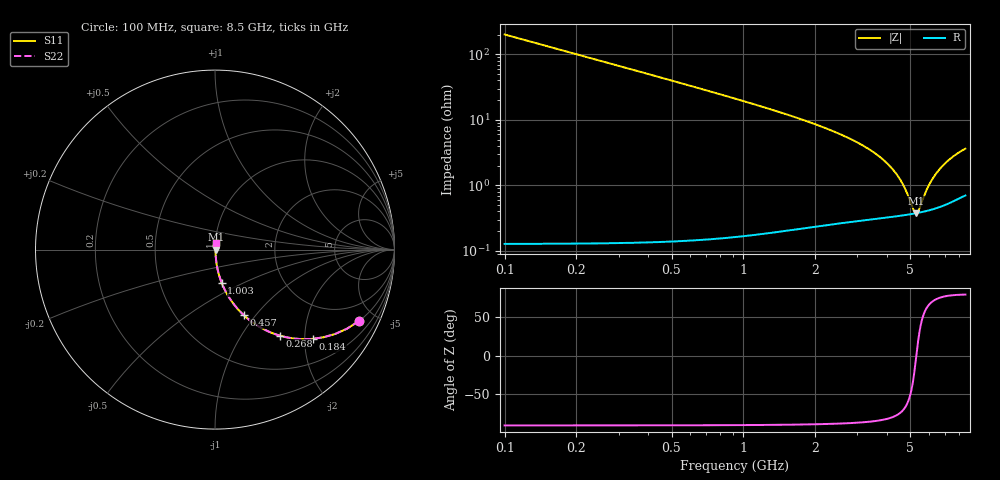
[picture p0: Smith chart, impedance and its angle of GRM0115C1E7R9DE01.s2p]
!Murata Part Number: GRM0115C1E7R9DE01
!These Parameters are Measured in Series Mode Connection
!Data Generated on Mar 30, 2021
!  o--ll--o
!Port1  Port2
!  o------o
!Operation Temp=25[degC], DC Bias Voltage=0[V]
!Freq. Start=100[MHz] Stop=9[GHz] 401[Steps]
# Hz S RI R 50
!Freq.(Hz) S11(Real) S11(Imag) S21(Real) S21(Imag) S12(Real) S12(Imag) S22(Real) S22(Imag)
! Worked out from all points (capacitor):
!   401 points, 100 MHz to 8.5 GHz, reference 50 ohm
!   read as one part in series: C = 7.9 pF near 142 MHz
!   lowest |Z| = 376 mohm at 5.287 GHz (marker M1)
!   series resonance near 5.296 GHz, so ESL is about 110 pH
!   S11 on the Smith chart (normalised r, x): 100 MHz: 1.00, -4.03; 184 MHz: 1.00, -2.19; 268 MHz: 1.00, -1.50; 457 MHz: 1.00, -0.87; 1.003 GHz: 1.00, -0.39; 8.5 GHz: 1.01, +0.07
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1e8  0.802 -0.3981  0.198 0.3981  0.198 0.3981  0.802 -0.3981
1.84e8  0.5445 -0.4974  0.4555 0.4974  0.4555 0.4974  0.5445 -0.4974
2.68e8  0.36 -0.4791  0.64 0.4791  0.64 0.4791  0.36 -0.4791
3.52e8  0.2454 -0.4292  0.7546 0.4292  0.7546 0.4292  0.2454 -0.4292
4.57e8  0.1613 -0.3662  0.8387 0.3662  0.8387 0.3662  0.1613 -0.3662
6.67e8  0.0821 -0.272  0.9179 0.272  0.9179 0.272  0.0821 -0.272
1.003e9  0.0374 -0.1855  0.9626 0.1855  0.9626 0.1855  0.0374 -0.1855
1.507e9  0.0166 -0.1199  0.9834 0.1199  0.9834 0.1199  0.0166 -0.1199
2.914e9  0.00505 -0.0473  0.995 0.0473  0.995 0.0473  0.00505 -0.0473
3.733e9  0.00383 -0.0267  0.9962 0.0267  0.9962 0.0267  0.00383 -0.0267
4.3e9  0.00358 -0.0157  0.9964 0.0157  0.9964 0.0157  0.00358 -0.0157
4.72e9  0.00357 -0.00863  0.9964 0.00863  0.9964 0.00863  0.00357 -0.00863
5.161e9  0.00369 -0.00193  0.9963 0.00193  0.9963 0.00193  0.00369 -0.00193
5.287e9  0.00374 -0.00013  0.9963 0.00013  0.9963 0.00013  0.00374 -0.00013
5.413e9  0.00381 0.00163  0.9962 -0.00163  0.9962 -0.00163  0.00381 0.00163
5.707e9  0.00399 0.00559  0.996 -0.00559  0.996 -0.00559  0.00399 0.00559
5.98e9  0.00421 0.0091  0.9958 -0.0091  0.9958 -0.0091  0.00421 0.0091
6.295e9  0.00452 0.013  0.9955 -0.013  0.9955 -0.013  0.00452 0.013
6.673e9  0.00498 0.0174  0.995 -0.0174  0.995 -0.0174  0.00498 0.0174
7.114e9  0.00562 0.0222  0.9944 -0.0222  0.9944 -0.0222  0.00562 0.0222
7.765e9  0.00678 0.0288  0.9932 -0.0288  0.9932 -0.0288  0.00678 0.0288
8.5e9  0.00819 0.0352  0.9918 -0.0352  0.9918 -0.0352  0.00819 0.0352
